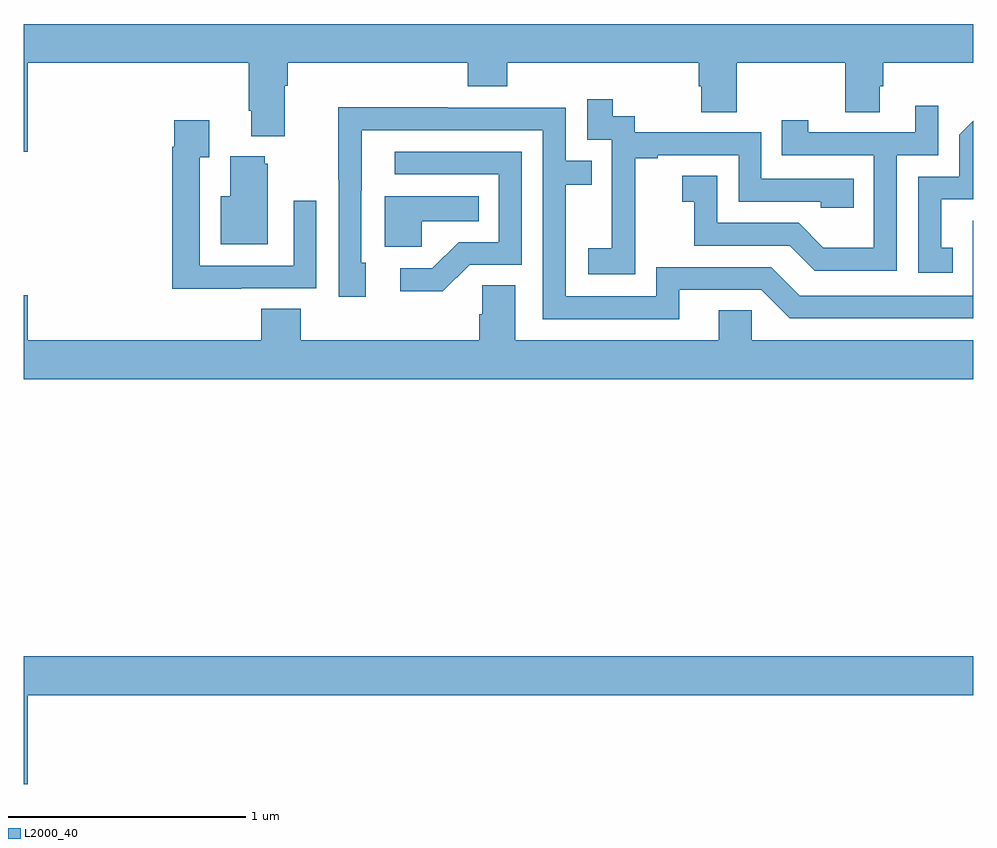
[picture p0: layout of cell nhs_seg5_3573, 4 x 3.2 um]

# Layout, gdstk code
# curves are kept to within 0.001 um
import gdstk
lib = gdstk.Library(unit=1e-6, precision=1e-09)
def P(c, l, *ps):  # polygons
    for p in ps: c.add(gdstk.Polygon(p, *l))
L2000_40 = (2000, 40)

nhs_seg5_3573 = lib.new_cell('nhs_seg5_3573')
P(nhs_seg5_3573, L2000_40, [(321,889.686),(321.016,889.686),(321.016,890.06),(321.947,890.06),(321.947,889.858),(321.959,889.858),(321.959,889.751),(322.099,889.751),(322.099,889.964),(322.112,889.964),(322.112,890.06),(322.871,890.06),(322.871,889.961),(323.036,889.961),(323.036,890.06),(323.843,890.06),(323.843,889.962),(323.855,889.962),(323.855,889.852),(324.003,889.852),(324.003,890.06),(324.46,890.06),(324.46,889.852),(324.607,889.852),(324.607,889.962),(324.62,889.962),(324.62,890.06),(325,890.06),(325,890.224),(321,890.224)],
  [(323.577,889.375),(323.576,889.375),(323.576,889.659),(323.671,889.659),(323.671,889.671),(324.012,889.671),(324.012,889.476),(324.357,889.476),(324.357,889.449),(324.497,889.449),(324.497,889.572),(324.108,889.572),(324.108,889.767),(323.574,889.767),(323.574,889.836),(323.482,889.836),(323.482,889.906),(323.373,889.906),(323.373,889.737),(323.478,889.737),(323.478,889.508),(323.477,889.508),(323.477,889.279),(323.379,889.279),(323.379,889.169),(323.577,889.169)],
  [(324.678,889.671),(324.852,889.671),(324.852,889.879),(324.755,889.879),(324.755,889.767),(324.304,889.767),(324.304,889.819),(324.193,889.819),(324.193,889.671),(324.582,889.671),(324.582,889.282),(324.368,889.282),(324.264,889.386),(323.922,889.386),(323.922,889.585),(323.775,889.585),(323.775,889.475),(323.824,889.475),(323.824,889.29),(324.227,889.29),(324.332,889.185),(324.678,889.185)],
  [(323.761,889.104),(324.108,889.104),(324.228,888.984),(325,888.984),(325,889.395),(324.999,889.08),(324.27,889.08),(324.15,889.2),(323.664,889.2),(323.664,889.077),(323.283,889.077),(323.283,889.546),(323.393,889.546),(323.393,889.647),(323.283,889.647),(323.283,889.872),(322.787,889.872),(322.787,889.874),(322.324,889.874),(322.324,889.567),(322.326,889.567),(322.326,889.074),(322.441,889.074),(322.441,889.218),(322.422,889.218),(322.423,889.776),(323.187,889.776),(323.187,888.981),(323.761,888.981)],
  [(321.917,889.11),(322.233,889.11),(322.233,889.48),(322.137,889.48),(322.137,889.206),(321.741,889.206),(321.741,889.663),(321.781,889.663),(321.781,889.819),(321.633,889.819),(321.633,889.706),(321.625,889.706),(321.625,889.109),(321.917,889.109)],
  [(324.914,889.281),(324.865,889.281),(324.865,889.485),(325,889.485),(325,889.816),(324.942,889.758),(324.942,889.581),(324.768,889.581),(324.768,889.176),(324.914,889.176)],
  [(322.878,889.209),(323.097,889.209),(323.097,889.686),(322.563,889.686),(322.563,889.59),(323.001,889.59),(323.001,889.305),(322.832,889.305),(322.721,889.194),(322.587,889.194),(322.587,889.097),(322.765,889.097)],
  [(322.027,889.635),(322.016,889.635),(322.016,889.666),(321.869,889.666),(321.869,889.498),(321.83,889.498),(321.83,889.295),(322.027,889.295)],
  [(322.677,889.394),(322.916,889.394),(322.916,889.498),(322.52,889.498),(322.52,889.286),(322.677,889.286)],
  [(325,888.892),(324.066,888.892),(324.066,889.019),(323.927,889.019),(323.927,888.892),(323.071,888.892),(323.071,889.124),(322.932,889.124),(322.932,889.001),(322.919,889.001),(322.919,888.892),(322.166,888.892),(322.166,889.025),(322.001,889.025),(322.001,888.892),(321.016,888.892),(321.016,889.081),(321,889.081),(321,888.728),(325,888.728)],
  [(321.016,887.396),(325,887.396),(325,887.56),(321,887.56),(321,887.022),(321.016,887.022)])

lib.write_gds('nhs_seg5_3573.gds')
